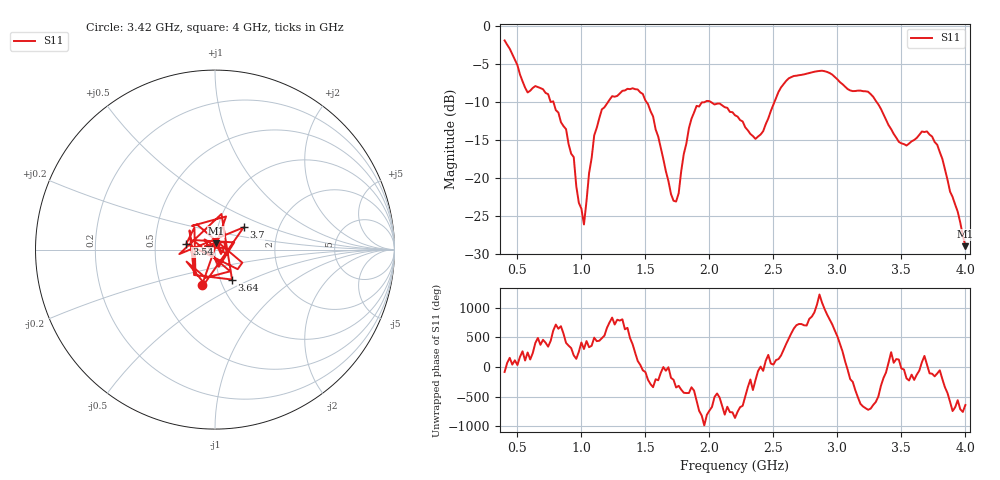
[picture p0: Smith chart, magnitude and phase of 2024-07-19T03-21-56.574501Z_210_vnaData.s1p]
!Created with skrf (http://scikit-rf.org).
# Hz S RI R 50.0
!freq ReS11 ImS11
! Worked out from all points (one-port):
!   181 points, 400 MHz to 4 GHz, reference 50 ohm
!   lowest |S11| = -29.0 dB at 4 GHz (marker M1), VSWR 1.07, Z = 50.5 + j3.53 ohm
!   |S11| at or under -10 dB: 1.508 GHz to 1.965 GHz (456.6 MHz wide, 26.3 % of centre); 2.01 GHz to 2.508 GHz (497.7 MHz wide, 22 % of centre); 3.306 GHz to end of sweep (the widest 3 of 5)
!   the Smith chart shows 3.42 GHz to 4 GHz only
!   S11 on the Smith chart (normalised r, x): 3.42 GHz: 0.81, -0.33; 3.54 GHz: 0.72, +0.05; 3.64 GHz: 1.14, -0.39; 3.7 GHz: 1.33, +0.34; 4 GHz: 1.01, +0.07
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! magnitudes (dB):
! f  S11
! 400 MHz  -1.9
! 580 MHz  -8.7
! 700 MHz  -8.3
! 860 MHz  -13.2
! 940 MHz  -17.3
! 1.02 GHz  -26.2
! 1.1 GHz  -14.4
! 1.16 GHz  -11.0
! 1.3 GHz  -8.9
! 1.48 GHz  -9.0
! 1.56 GHz  -11.9
! 1.7 GHz  -22.2
! 1.76 GHz  -22.0
! 1.84 GHz  -13.5
! 1.9 GHz  -10.5
! 2.2 GHz  -11.8
! 2.36 GHz  -14.9
! 2.66 GHz  -6.6
! 2.9 GHz  -5.9
! 3.1 GHz  -8.5
! 3.26 GHz  -9.0
! 3.42 GHz  -13.6
! 3.54 GHz  -15.7
! 3.56 GHz  -15.5
! 3.64 GHz  -14.3
! 3.7 GHz  -13.9
! 3.82 GHz  -17.5
! 4 GHz  -29.0
